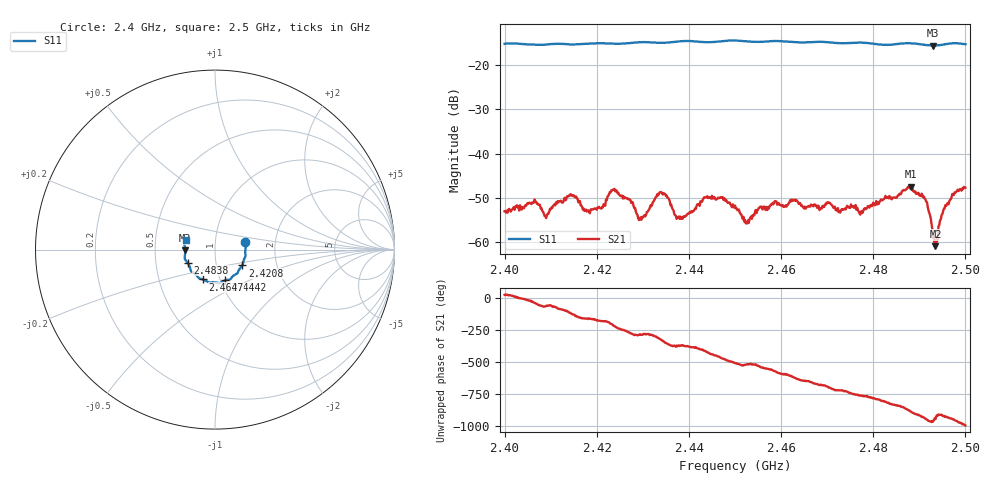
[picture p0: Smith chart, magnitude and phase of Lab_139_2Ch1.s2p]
# Hz S RI R 50
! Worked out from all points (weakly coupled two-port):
!   601 points, 2.4 GHz to 2.5 GHz, reference 50 ohm
!   highest |S21| = -47.46 dB at 2.4882 GHz (marker M1); lowest = -60.9 dB at 2.4935 GHz (marker M2)
!   lowest |S11| = -15.6 dB at 2.493 GHz (marker M3), VSWR 1.40, Z = 35.8 - j0.268 ohm
!   |S11| at or under -10 dB: start of sweep to end of sweep
!   S12 and S22 are empty: the file has one direction only
!   S11 on the Smith chart (normalised r, x): 2.4 GHz: 1.40, +0.12; 2.4208 GHz: 1.33, -0.24; 2.4442 GHz: 1.05, -0.37; 2.4647 GHz: 0.83, -0.29; 2.4838 GHz: 0.73, -0.11; 2.5 GHz: 0.72, +0.08
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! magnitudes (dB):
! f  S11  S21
! 2.4 GHz  -15.2  -53.0
! 2.4167 GHz  -15.3  -51.7
! 2.4208 GHz  -15.1  -52.3
! 2.4238 GHz  -15.2  -47.9
! 2.4295 GHz  -14.8  -54.4
! 2.4333 GHz  -15.0  -49.4
! 2.4378 GHz  -14.7  -54.1
! 2.4442 GHz  -14.9  -50.0
! 2.45 GHz  -14.5  -51.7
! 2.4525 GHz  -14.7  -55.6
! 2.4585 GHz  -14.6  -51.0
! 2.4647 GHz  -14.9  -51.9
! 2.4667 GHz  -14.8  -51.6
! 2.4773 GHz  -14.9  -53.2
! 2.4833 GHz  -15.5  -50.1
! 2.4838 GHz  -15.4  -49.9
! 2.4882 GHz  -15.1  -47.5
! 2.4912 GHz  -15.5  -50.1
! 2.493 GHz  -15.6  -58.7
! 2.4935 GHz  -15.6  -60.9
! 2.4957 GHz  -15.3  -51.6
! 2.5 GHz  -15.3  -47.7
